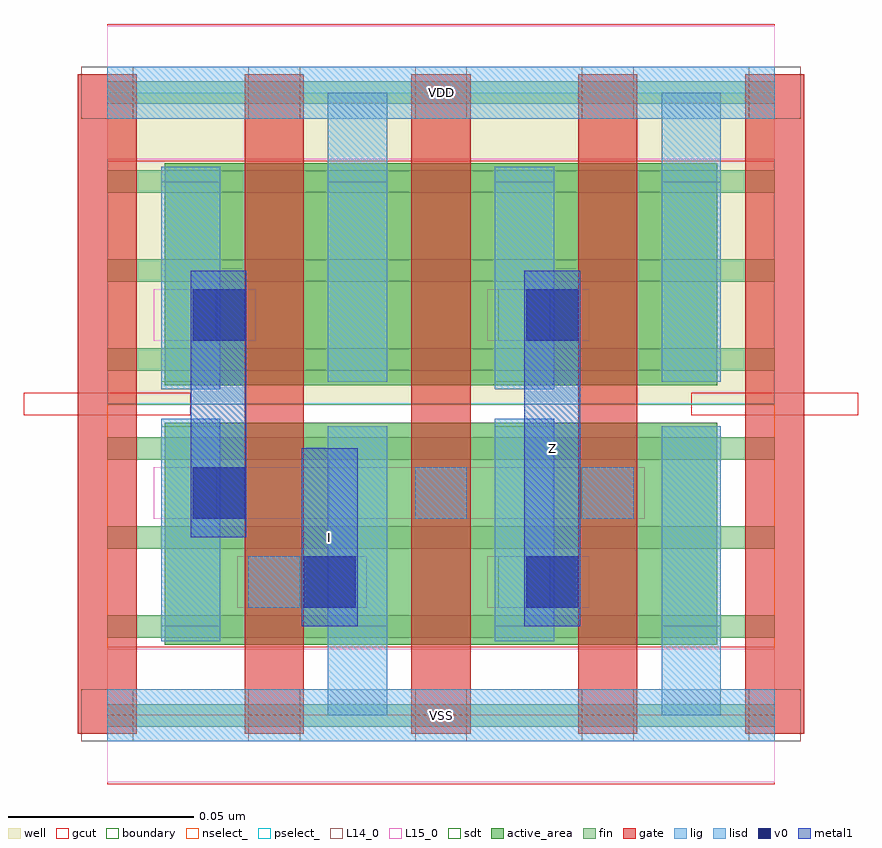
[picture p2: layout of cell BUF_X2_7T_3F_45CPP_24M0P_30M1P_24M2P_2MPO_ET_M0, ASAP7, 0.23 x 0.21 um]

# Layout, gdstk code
import gdstk
lib = gdstk.Library(unit=1e-6, precision=2.5e-10)
def R(c, l, rs):  # rectangles x0, y0, x1, y1
    for r in rs: c.add(gdstk.rectangle(r[:2], r[2:], *l))
def A(c, l, x, y, w, h, nx, ny, dx, dy):  # array of equal rectangles
    R(c, l, [(x+i*dx, y+j*dy, x+i*dx+w, y+j*dy+h) for i in range(nx) for j in range(ny)])
well = (1, 0)
fin = (2, 0)
gate = (7, 0)
gcut = (10, 0)
active_area = (11, 0)
nselect_ = (12, 0)
pselect_ = (13, 0)
L14_0 = (14, 0)
L15_0 = (15, 0)
lig = (16, 0)
lisd = (17, 0)
v0 = (18, 0)
metal1 = (19, 0)
sdt = (88, 0)
boundary = (100, 0)

buf_x2_7t_3f_45cpp_24m0p = lib.new_cell('BUF_X2_7T_3F_45CPP_24M0P_30M1P_24M2P_2MPO_ET_M0')
R(buf_x2_7t_3f_45cpp_24m0p, well, [(0,0.084,0.18,0.168)])
A(buf_x2_7t_3f_45cpp_24m0p, fin, 0, -0.003, 0.18, 0.006, 1, 8, 0, 0.024)
A(buf_x2_7t_3f_45cpp_24m0p, gate, -0.008, -0.005, 0.016, 0.178, 5, 1, 0.045, 0)
R(buf_x2_7t_3f_45cpp_24m0p, gcut, [(0,-0.0185,0.18,0.0185), (-0.0225,0.081,0.0225,0.087), (0.1575,0.081,0.2025,0.087), (0,0.1495,0.18,0.1865)])
R(buf_x2_7t_3f_45cpp_24m0p, active_area, [(0.0155,0.019,0.0745,0.079), (0.0605,0.019,0.1645,0.079), (0.0155,0.089,0.0745,0.149), (0.0605,0.089,0.1645,0.149)])
R(buf_x2_7t_3f_45cpp_24m0p, nselect_, [(0,0,0.18,0.084)])
R(buf_x2_7t_3f_45cpp_24m0p, pselect_, [(0,0.084,0.18,0.168)])
A(buf_x2_7t_3f_45cpp_24m0p, L14_0, -0.007, -0.007, 0.014, 0.014, 5, 2, 0.045, 0.168)
R(buf_x2_7t_3f_45cpp_24m0p, L14_0, [(0.038,0.029,0.052,0.043), (0.1055,0.029,0.1195,0.043), (0.0155,0.053,0.0295,0.067), (0.083,0.053,0.097,0.067), (0.128,0.053,0.142,0.067), (0.0155,0.101,0.0295,0.115), (0.1055,0.101,0.1195,0.115)])
R(buf_x2_7t_3f_45cpp_24m0p, L15_0, [(0,-0.018,0.18,0.018), (0.035,0.029,0.07,0.043), (0.1025,0.029,0.13,0.043), (0.0125,0.053,0.145,0.067), (0.0125,0.101,0.04,0.115), (0.1025,0.101,0.13,0.115), (0,0.15,0.18,0.186)])
R(buf_x2_7t_3f_45cpp_24m0p, lig, [(0,-0.007,0.18,0.007), (0.038,0.029,0.052,0.043), (0.083,0.053,0.097,0.067), (0.128,0.053,0.142,0.067), (0,0.161,0.18,0.175)])
R(buf_x2_7t_3f_45cpp_24m0p, lisd, [(0.0595,0,0.0755,0.078), (0.1495,0,0.1655,0.078), (0.0145,0.02,0.0305,0.08), (0.1045,0.02,0.1205,0.08), (0.0145,0.088,0.0305,0.148), (0.1045,0.088,0.1205,0.148), (0.0595,0.09,0.0755,0.168), (0.1495,0.09,0.1655,0.168)])
R(buf_x2_7t_3f_45cpp_24m0p, v0, [(0.053,0.029,0.067,0.043), (0.113,0.029,0.127,0.043), (0.023,0.053,0.037,0.067), (0.023,0.101,0.037,0.115), (0.113,0.101,0.127,0.115)])
R(buf_x2_7t_3f_45cpp_24m0p, metal1, [(0.0525,0.024,0.0675,0.072), (0.1125,0.024,0.1275,0.12), (0.0225,0.048,0.0375,0.12)])
A(buf_x2_7t_3f_45cpp_24m0p, sdt, 0.0145, 0.024, 0.016, 0.054, 4, 2, 0.045, 0.066)
R(buf_x2_7t_3f_45cpp_24m0p, boundary, [(0,0,0.18,0.168)])
buf_x2_7t_3f_45cpp_24m0p.add(gdstk.Label('Z', (0.12,0.072), layer=19, texttype=251))
buf_x2_7t_3f_45cpp_24m0p.add(gdstk.Label('I', (0.06,0.048), layer=19, texttype=251))
buf_x2_7t_3f_45cpp_24m0p.add(gdstk.Label('VDD', (0.09,0.168), layer=15, texttype=251))
buf_x2_7t_3f_45cpp_24m0p.add(gdstk.Label('VSS', (0.09,0), layer=15, texttype=251))
buf_x2_7t_3f_45cpp_24m0p.add(gdstk.Label('VDD', (0.09,0.168), layer=1, texttype=251))
buf_x2_7t_3f_45cpp_24m0p.add(gdstk.Label('VSS', (0.09,0), layer=3, texttype=251))

lib.write_gds('BUF_X2_7T_3F_45CPP_24M0P_30M1P_24M2P_2MPO_ET_M0.gds')
